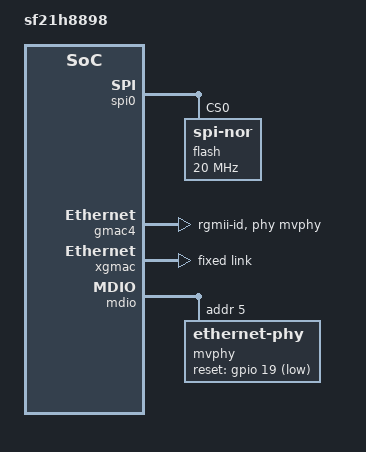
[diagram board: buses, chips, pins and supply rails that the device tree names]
// SPDX-License-Identifier: GPL-2.0

/dts-v1/;
#include "sf21h8898.dtsi"

/ {
	model = "sf21h8898";
	compatible = "siflower,sf21h8898";

	chosen {
		stdout-path = &uart1;
		tick-timer = &timer0;
	};

};

&uart1 {
	u-boot,dm-pre-reloc;
};

&watchdog {
	u-boot,dm-pre-reloc;
};

&timer0 {
	u-boot,dm-pre-reloc;
};

&spi0 {
	status = "okay";

	flash@0 {
		compatible = "jedec,spi-nor";
		reg = <0>;
		spi-max-frequency = <20000000>;
		spi-tx-bus-width = <4>;
		spi-rx-bus-width = <4>;
		#address-cells = <1>;
		#size-cells = <1>;
	};
};

&gmac4 {
	status = "okay";
	local-mac-address = [10 23 45 67 89 ab];
	phy-mode = "rgmii-id";
	phy-handle = <&mvphy>;
	rx-internal-delay-ps = <5000>;
	tx-internal-delay-ps = <5000>;
};

&xgmac {
	status = "okay";
	local-mac-address = [10 23 45 67 89 ab];

	fixed-link {
		speed = <10000>;
		full-duplex;
		pause;
	};
};

&mdio {
	mvphy: ethernet-phy@5 {
		reg = <0x5>;
		reset-gpios = <&gpio 19 GPIO_ACTIVE_LOW>;
	};
};
